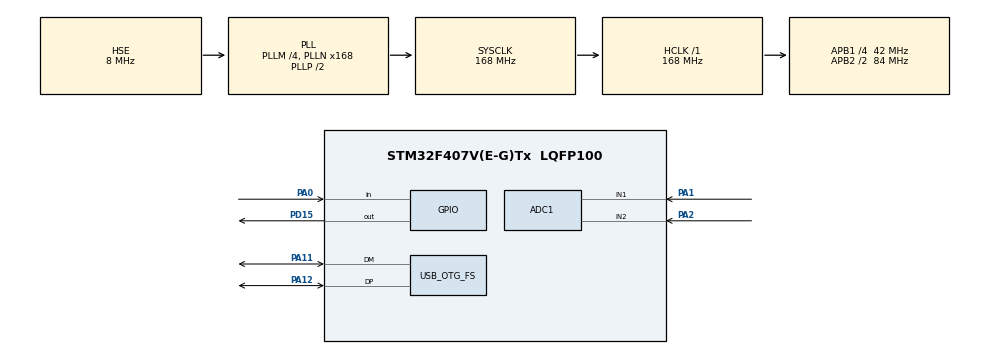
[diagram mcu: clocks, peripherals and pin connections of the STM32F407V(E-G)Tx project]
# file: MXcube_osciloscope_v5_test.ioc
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ADC1.Channel-13\#ChannelRegularConversion=ADC_CHANNEL_1
ADC1.Channel-14\#ChannelInjectedConversion=ADC_CHANNEL_1
ADC1.Channel-15\#ChannelInjectedConversion=ADC_CHANNEL_2
ADC1.EOCSelection=ADC_EOC_SEQ_CONV
ADC1.ExternalTrigInjecConv=ADC_EXTERNALTRIGINJECCONV_T5_TRGO
ADC1.InjNumberOfConversion=2
ADC1.InjectedOffset-14\#ChannelInjectedConversion=0
ADC1.InjectedOffset-15\#ChannelInjectedConversion=0
ADC1.InjectedRank-14\#ChannelInjectedConversion=1
ADC1.InjectedRank-15\#ChannelInjectedConversion=2
ADC1.NbrOfConversionFlag=1
ADC1.Rank-13\#ChannelRegularConversion=1
ADC1.SamplingTime-13\#ChannelRegularConversion=ADC_SAMPLETIME_3CYCLES
ADC1.SamplingTime-14\#ChannelInjectedConversion=ADC_SAMPLETIME_3CYCLES
ADC1.SamplingTime-15\#ChannelInjectedConversion=ADC_SAMPLETIME_3CYCLES
ADC1.master=1
Mcu.Family=STM32F4
Mcu.Name=STM32F407V(E-G)Tx
Mcu.Package=LQFP100
NVIC.ADC_IRQn=true\:0\:0\:false\:false\:true\:true\:true
NVIC.OTG_FS_IRQn=true\:4\:0\:true\:false\:true\:false\:true
NVIC.PriorityGroup=NVIC_PRIORITYGROUP_4
PA0-WKUP.Signal=GPIO_Input
PA1.Signal=ADCx_IN1
PA11.Mode=Device_Only
PA11.Signal=USB_OTG_FS_DM
PA12.Mode=Device_Only
PA12.Signal=USB_OTG_FS_DP
PA2.Signal=ADCx_IN2
PD15.Signal=GPIO_Output
PH0-OSC_IN.Mode=HSE-External-Oscillator
PH0-OSC_IN.Signal=RCC_OSC_IN
PH1-OSC_OUT.Mode=HSE-External-Oscillator
PH1-OSC_OUT.Signal=RCC_OSC_OUT
ProjectManager.HeapSize=0x2000
ProjectManager.StackSize=0x4000
ProjectManager.TargetToolchain=MDK-ARM V5.27
RCC.48MHZClocksFreq_Value=48000000
RCC.AHBFreq_Value=168000000
RCC.APB1CLKDivider=RCC_HCLK_DIV4
RCC.APB1Freq_Value=42000000
RCC.APB1TimFreq_Value=84000000
RCC.APB2CLKDivider=RCC_HCLK_DIV2
RCC.APB2Freq_Value=84000000
RCC.APB2TimFreq_Value=168000000
RCC.CortexFreq_Value=168000000
RCC.HCLKFreq_Value=168000000
RCC.HSE_VALUE=8000000
RCC.HSI_VALUE=16000000
RCC.LSE_VALUE=32768
RCC.PLLM=4
RCC.PLLN=168
RCC.PLLQ=7
RCC.SYSCLKFreq_VALUE=168000000
RCC.SYSCLKSource=RCC_SYSCLKSOURCE_PLLCLK
RCC.VCOOutputFreq_Value=336000000
SH.ADCx_IN1.0=ADC1_IN1,IN1
SH.ADCx_IN2.0=ADC1_IN2,IN2
TIM5.Period=8400-1
TIM5.TIM_MasterOutputTrigger=TIM_TRGO_UPDATE
USB_DEVICE.CLASS_NAME_FS=CDC
USB_DEVICE.VirtualMode-CDC_FS=Cdc
USB_DEVICE.VirtualModeFS=Cdc_FS
USB_OTG_FS.VirtualMode=Device_Only
VP_TIM5_VS_ClockSourceINT.Mode=Internal
VP_USB_DEVICE_VS_USB_DEVICE_CDC_FS.Mode=CDC_FS
board=custom

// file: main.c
/* USER CODE BEGIN Header */
/**
  ******************************************************************************
  * @file           : main.c
  * @brief          : Main program body
  ******************************************************************************
  * @attention
  *
  * <h2><center>&copy; Copyright (c) 2021 STMicroelectronics.
  * All rights reserved.</center></h2>
  *
  * This software component is licensed by ST under Ultimate Liberty license
  * SLA0044, the "License"; You may not use this file except in compliance with
  * the License. You may obtain a copy of the License at:
  *                             www.st.com/SLA0044
  *
  ******************************************************************************
  */
/* USER CODE END Header */
#include "main.h"
#include "usb_device.h"
#include "usbd_cdc_if.h"
#include <string.h>
#include <stdbool.h>

ADC_HandleTypeDef hadc1;

TIM_HandleTypeDef htim5;

/* USER CODE BEGIN PV */
const uint16_t Delay = 3;
const uint16_t size_of_array_u = 2048;											//размер одного массива с данными
const uint16_t value_of_cikles  = size_of_array_u-1;			//размер одного массива с данными, с учетом счетчика от 0
const uint16_t size_of_transmit_arr = size_of_array_u*2;	//размер для отправки. U1_H, U1_L; U2_H, U2_L;

volatile uint16_t ADC_Data_u1[size_of_array_u];				//Переменная для храниния значения с АЦП
volatile uint16_t ADC_Data_u2[size_of_array_u];						//Переменная для храниния значения с АЦП

uint16_t ip = 0;

uint16_t i = 0;
uint16_t f = 0;

uint16_t f_2 = 0;
uint16_t i_1 = 0;

uint16_t f_2_L = 0;
uint16_t f_2_H = 0;

uint16_t i_1_L = 0;
uint16_t i_1_H = 0;

uint8_t trans_val = 0;

uint16_t value_u1 = 0;
uint16_t value_u2 = 0;

volatile uint16_t u1_HIGH[size_of_array_u];
volatile uint16_t u1_LOW[size_of_array_u];

volatile uint16_t u2_HIGH[size_of_array_u];
volatile uint16_t u2_LOW[size_of_array_u];

volatile uint8_t u1_transmit[size_of_transmit_arr];
volatile uint8_t u2_transmit[size_of_transmit_arr];

int btn_prev = 0;						//предыдущее состояние кнопки
int btn_cur = 0;						//текущее состояние кнопки
bool btn = 0;								//Вспомогательная переменная, начальное значение False
volatile bool ADC_ready = 0;
/* USER CODE END PV */

void SystemClock_Config(void);
static void MX_GPIO_Init(void);
static void MX_ADC1_Init(void);
static void MX_TIM5_Init(void);

int main(void)
{

  /* MCU Configuration--------------------------------------------------------*/

  /* Reset of all peripherals, Initializes the Flash interface and the Systick. */
  HAL_Init();

  /* Configure the system clock */
  SystemClock_Config();

  /* Initialize all configured peripherals */
  MX_GPIO_Init();
  MX_ADC1_Init();
  MX_USB_DEVICE_Init();
  MX_TIM5_Init();
  /* USER CODE BEGIN 2 */
	HAL_TIM_Base_Start(&htim5);
	HAL_ADCEx_InjectedStart_IT(&hadc1);
  /* USER CODE END 2 */

  /* Infinite loop */
	while (1)
  {
		btn_cur = HAL_GPIO_ReadPin(GPIOA, GPIO_PIN_0);				//Считываем состояние кнопки
	  if ((btn_prev == 0) && (btn_cur != 0))
		{																										//Если предыдущие состояние 0, т.е. кнопка не была нажата, и текущее состояние не равно 0, т.е. кнопка нажата
		 btn = !btn;																				//В этом случае меняем состояние переменной a на True
		}
	  btn_prev = btn_cur;																	//Запоминаем текущее состояние кнопки, чтобы исключить ложное срабатывание светодиода, если кнопка останется зажатой
	  if (btn==1) 																				//Теперь, если переменная a = True, то
		{
//-------------------------------------------------------------------------------------------------
			if (ADC_ready == 1)
			{
					value_u1=2;
					value_u2=2;
					HAL_TIM_Base_Stop(&htim5);   //Отключение Таймера TIM5
					HAL_ADCEx_InjectedStop_IT(&hadc1);

			//--u1 array--------------------------------------------------------------------------------------//
					for (i_1_H = 0; i_1_H < value_of_cikles; i_1_H++) u1_HIGH[i_1_H] = ADC_Data_u1[i_1_H] / 256;	//
					for (i_1_L = 0; i_1_L < value_of_cikles; i_1_L++) u1_LOW[i_1_L] = ADC_Data_u1[i_1_L] % 256;		//
					u1_transmit[0]=111;																																						// метка
					u1_transmit[1]=111;																																						//
					for (i_1 = 0; i_1 < value_of_cikles; i_1++)																										//
					{																																															//
						u1_transmit[value_u1++] = u1_HIGH[i_1];																											//
						u1_transmit[value_u1++] = u1_LOW[i_1];																											//
					}																																															//
			//-----Transmit_u1--------------------------------------------------------------------------------//
				CDC_Transmit_FS((uint8_t*)u1_transmit, size_of_transmit_arr);
				HAL_Delay(Delay);
			//--u2 array--------------------------------------------------------------------------------------//
					for (f_2_H = 0; f_2_H < value_of_cikles; f_2_H++) u2_HIGH[f_2_H] = ADC_Data_u2[f_2_H] / 256;	//
					for (f_2_L = 0; f_2_L < value_of_cikles; f_2_L++) u2_LOW[f_2_L] = ADC_Data_u2[f_2_L] % 256;		//
					u2_transmit[0]=222;																																						// метка
					u2_transmit[1]=222;																																						//
					for (f_2 = 0; f_2 < value_of_cikles; f_2++)																										//
					{																																															//
						u2_transmit[value_u2++] = u2_HIGH[f_2];																											//
						u2_transmit[value_u2++] = u2_LOW[f_2];																											//
					}																																															//
				//-----Transmit_u2------------------------------------------------------------------------------//
				CDC_Transmit_FS((uint8_t*)u2_transmit, size_of_transmit_arr);
				HAL_Delay(Delay);
				//-----Transmit_u1------------------------------------------------------------------------------//
				ADC_ready = 0;
				HAL_TIM_Base_Start(&htim5);
				HAL_ADCEx_InjectedStart_IT(&hadc1);
				}
				//----------------------------------------------------------------------------------------------------
				else
				{
				HAL_GPIO_TogglePin(GPIOD, GPIO_PIN_15);																													//Изменяем состояние пина LED, к которому подключен светодиод*/
				HAL_Delay(Delay);
				}
//-------------------------------------------------------------------------------------------------
	  }
		else
		{
		  HAL_GPIO_WritePin(GPIOD, GPIO_PIN_15, GPIO_PIN_RESET);																						//Если переменная a=False, то светодиод должен погаснуть
		}
  }
  /* USER CODE END 3 */
}

void SystemClock_Config(void)
{
  RCC_OscInitTypeDef RCC_OscInitStruct = {0};
  RCC_ClkInitTypeDef RCC_ClkInitStruct = {0};

  /** Configure the main internal regulator output voltage
  */
  __HAL_RCC_PWR_CLK_ENABLE();
  __HAL_PWR_VOLTAGESCALING_CONFIG(PWR_REGULATOR_VOLTAGE_SCALE1);
  /** Initializes the RCC Oscillators according to the specified parameters
  * in the RCC_OscInitTypeDef structure.
  */
  RCC_OscInitStruct.OscillatorType = RCC_OSCILLATORTYPE_HSE;
  RCC_OscInitStruct.HSEState = RCC_HSE_ON;
  RCC_OscInitStruct.PLL.PLLState = RCC_PLL_ON;
  RCC_OscInitStruct.PLL.PLLSource = RCC_PLLSOURCE_HSE;
  RCC_OscInitStruct.PLL.PLLM = 4;
  RCC_OscInitStruct.PLL.PLLN = 168;
  RCC_OscInitStruct.PLL.PLLP = RCC_PLLP_DIV2;
  RCC_OscInitStruct.PLL.PLLQ = 7;
  if (HAL_RCC_OscConfig(&RCC_OscInitStruct) != HAL_OK)
  {
    Error_Handler();
  }
  /** Initializes the CPU, AHB and APB buses clocks
  */
  RCC_ClkInitStruct.ClockType = RCC_CLOCKTYPE_HCLK|RCC_CLOCKTYPE_SYSCLK
                              |RCC_CLOCKTYPE_PCLK1|RCC_CLOCKTYPE_PCLK2;
  RCC_ClkInitStruct.SYSCLKSource = RCC_SYSCLKSOURCE_PLLCLK;
  RCC_ClkInitStruct.AHBCLKDivider = RCC_SYSCLK_DIV1;
  RCC_ClkInitStruct.APB1CLKDivider = RCC_HCLK_DIV4;
  RCC_ClkInitStruct.APB2CLKDivider = RCC_HCLK_DIV2;

  if (HAL_RCC_ClockConfig(&RCC_ClkInitStruct, FLASH_LATENCY_5) != HAL_OK)
  {
    Error_Handler();
  }
}

static void MX_ADC1_Init(void)
{

  ADC_ChannelConfTypeDef sConfig = {0};
  ADC_InjectionConfTypeDef sConfigInjected = {0};

  /** Configure the global features of the ADC (Clock, Resolution, Data Alignment and number of conversion)
  */
  hadc1.Instance = ADC1;
  hadc1.Init.ClockPrescaler = ADC_CLOCK_SYNC_PCLK_DIV4;
  hadc1.Init.Resolution = ADC_RESOLUTION_12B;
  hadc1.Init.ScanConvMode = ENABLE;
  hadc1.Init.ContinuousConvMode = DISABLE;
  hadc1.Init.DiscontinuousConvMode = DISABLE;
  hadc1.Init.ExternalTrigConvEdge = ADC_EXTERNALTRIGCONVEDGE_NONE;
  hadc1.Init.ExternalTrigConv = ADC_SOFTWARE_START;
  hadc1.Init.DataAlign = ADC_DATAALIGN_RIGHT;
  hadc1.Init.NbrOfConversion = 1;
  hadc1.Init.DMAContinuousRequests = DISABLE;
  hadc1.Init.EOCSelection = ADC_EOC_SEQ_CONV;
  if (HAL_ADC_Init(&hadc1) != HAL_OK)
  {
    Error_Handler();
  }
  /** Configure for the selected ADC regular channel its corresponding rank in the sequencer and its sample time.
  */
  sConfig.Channel = ADC_CHANNEL_1;
  sConfig.Rank = 1;
  sConfig.SamplingTime = ADC_SAMPLETIME_3CYCLES;
  if (HAL_ADC_ConfigChannel(&hadc1, &sConfig) != HAL_OK)
  {
    Error_Handler();
  }
  /** Configures for the selected ADC injected channel its corresponding rank in the sequencer and its sample time
  */
  sConfigInjected.InjectedChannel = ADC_CHANNEL_1;
  sConfigInjected.InjectedRank = 1;
  sConfigInjected.InjectedNbrOfConversion = 2;
  sConfigInjected.InjectedSamplingTime = ADC_SAMPLETIME_3CYCLES;
  sConfigInjected.ExternalTrigInjecConvEdge = ADC_EXTERNALTRIGINJECCONVEDGE_RISING;
  sConfigInjected.ExternalTrigInjecConv = ADC_EXTERNALTRIGINJECCONV_T5_TRGO;
  sConfigInjected.AutoInjectedConv = DISABLE;
  sConfigInjected.InjectedDiscontinuousConvMode = DISABLE;
  sConfigInjected.InjectedOffset = 0;
  if (HAL_ADCEx_InjectedConfigChannel(&hadc1, &sConfigInjected) != HAL_OK)
  {
    Error_Handler();
  }
  /** Configures for the selected ADC injected channel its corresponding rank in the sequencer and its sample time
  */
  sConfigInjected.InjectedChannel = ADC_CHANNEL_2;
  sConfigInjected.InjectedRank = 2;
  if (HAL_ADCEx_InjectedConfigChannel(&hadc1, &sConfigInjected) != HAL_OK)
  {
    Error_Handler();
  }
}

static void MX_TIM5_Init(void)
{

  TIM_ClockConfigTypeDef sClockSourceConfig = {0};
  TIM_MasterConfigTypeDef sMasterConfig = {0};

  htim5.Instance = TIM5;
  htim5.Init.Prescaler = 0;
  htim5.Init.CounterMode = TIM_COUNTERMODE_UP;
  htim5.Init.Period = 8400-1;
  htim5.Init.ClockDivision = TIM_CLOCKDIVISION_DIV1;
  htim5.Init.AutoReloadPreload = TIM_AUTORELOAD_PRELOAD_DISABLE;
  if (HAL_TIM_Base_Init(&htim5) != HAL_OK)
  {
    Error_Handler();
  }
  sClockSourceConfig.ClockSource = TIM_CLOCKSOURCE_INTERNAL;
  if (HAL_TIM_ConfigClockSource(&htim5, &sClockSourceConfig) != HAL_OK)
  {
    Error_Handler();
  }
  sMasterConfig.MasterOutputTrigger = TIM_TRGO_UPDATE;
  sMasterConfig.MasterSlaveMode = TIM_MASTERSLAVEMODE_DISABLE;
  if (HAL_TIMEx_MasterConfigSynchronization(&htim5, &sMasterConfig) != HAL_OK)
  {
    Error_Handler();
  }

}

static void MX_GPIO_Init(void)
{
  GPIO_InitTypeDef GPIO_InitStruct = {0};

  /* GPIO Ports Clock Enable */
  __HAL_RCC_GPIOH_CLK_ENABLE();
  __HAL_RCC_GPIOA_CLK_ENABLE();
  __HAL_RCC_GPIOD_CLK_ENABLE();

  /*Configure GPIO pin Output Level */
  HAL_GPIO_WritePin(GPIOD, GPIO_PIN_15, GPIO_PIN_RESET);

  /*Configure GPIO pin : PA0 */
  GPIO_InitStruct.Pin = GPIO_PIN_0;
  GPIO_InitStruct.Mode = GPIO_MODE_INPUT;
  GPIO_InitStruct.Pull = GPIO_NOPULL;
  HAL_GPIO_Init(GPIOA, &GPIO_InitStruct);

  /*Configure GPIO pin : PD15 */
  GPIO_InitStruct.Pin = GPIO_PIN_15;
  GPIO_InitStruct.Mode = GPIO_MODE_OUTPUT_PP;
  GPIO_InitStruct.Pull = GPIO_NOPULL;
  GPIO_InitStruct.Speed = GPIO_SPEED_FREQ_LOW;
  HAL_GPIO_Init(GPIOD, &GPIO_InitStruct);

}

/* USER CODE BEGIN 4 */
void HAL_ADCEx_InjectedConvCpltCallback(ADC_HandleTypeDef* hadc1)				//обработчик прерываний АЦП
{
		if (ip < value_of_cikles)
		{	ADC_Data_u1[ip]=HAL_ADCEx_InjectedGetValue(hadc1,ADC_INJECTED_RANK_1);
			ADC_Data_u2[ip]=HAL_ADCEx_InjectedGetValue(hadc1,ADC_INJECTED_RANK_2);
			if (ip >= (value_of_cikles-1))
			{
				ADC_ready = 1;
				//	HAL_TIM_Base_Stop(&htim5);   //Отключение Таймера TIM5
			}
			ip++;
		}

		else
		ip=0;
		__NOP();
}
/* USER CODE END 4 */

void Error_Handler(void)
{
  __disable_irq();
  while (1)
  {
  }
}

/************************ (C) COPYRIGHT STMicroelectronics *****END OF FILE****/
